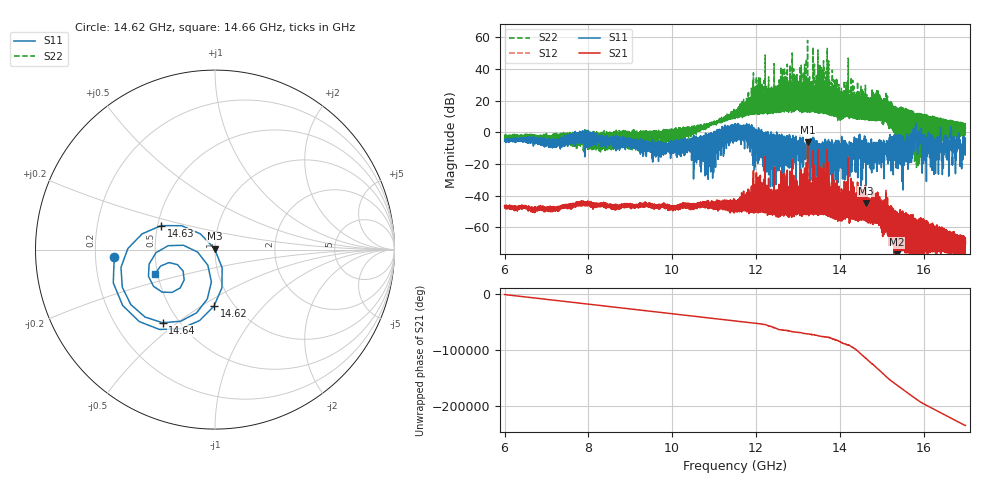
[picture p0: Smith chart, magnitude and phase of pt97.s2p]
#  HZ  S  RI  R  50.00
! Rohde & Schwarz Vector Network Analyzer
! Rohde-Schwarz,ZNA67-2Port,1332450062101215,3.01
! Created: UTC 10/19/2026, 11:38:50 AM
! freq[Hz]  re:S11  im:S11  re:S21  im:S21  re:S12  im:S12  re:S22  im:S22
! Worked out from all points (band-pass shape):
!   11001 points, 6 GHz to 17 GHz, reference 50 ohm
!   highest |S21| = -6.32 dB at 13.23 GHz (marker M1); lowest = -84.1 dB at 15.37 GHz (marker M2)
!   |S21| within 3 dB of the highest: 13.23292 GHz to 13.23308 GHz (164.9 kHz wide, 0.00125 % of centre)
!   lowest |S11| = -44.7 dB at 14.63 GHz (marker M3), VSWR 1.01, Z = 49.7 + j0.51 ohm
!   |S11| at or under -10 dB: 13.46861 GHz to 13.49467 GHz (26.06 MHz wide, 0.193 % of centre); 13.60943 GHz to 13.63377 GHz (24.34 MHz wide, 0.179 % of centre); 13.92231 GHz to 13.94845 GHz (26.13 MHz wide, 0.188 % of centre) (the widest 3 of 515)
!   |S22| runs from -22.3 to 58.0 dB; largest |S21 - S12| = 0.021
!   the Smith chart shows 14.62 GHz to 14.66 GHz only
!   S11 on the Smith chart (normalised r, x): 14.62 GHz: 0.28, -0.03; 14.62 GHz: 0.81, -0.57; 14.63 GHz: 0.52, +0.16; 14.64 GHz: 0.41, -0.44; 14.66 GHz: 0.48, -0.15
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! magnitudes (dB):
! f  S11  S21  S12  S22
! 6 GHz  -5.7  -47.0  -47.0  -5.0
! 7.834 GHz  -3.3  -45.4  -45.2  -4.3
! 9.667 GHz  -6.1  -47.5  -47.6  -0.9
! 10.87 GHz  -1.7  -47.2  -47.2  3.6
! 11.5 GHz  5.0  -47.5  -47.6  10.1
! 12.63 GHz  -9.4  -51.9  -51.7  13.8
! 13.23 GHz  -10.2  -6.3  -6.3  58.0
! 13.33 GHz  -12.4  -49.3  -48.9  16.7
! 14.62 GHz  -5.0  -53.6  -53.4  12.1
! 14.62 GHz  -10.0  -43.2  -43.2  20.6
! 14.63 GHz  -44.7  -56.3  -56.1  9.9
! 14.63 GHz  -9.7  -50.1  -49.9  11.0
! 14.64 GHz  -6.0  -49.6  -49.7  13.0
! 14.66 GHz  -8.9  -44.7  -44.8  18.9
! 15.17 GHz  -14.4  -61.9  -61.9  5.5
! 15.37 GHz  -19.7  -84.1  -83.9  -0.3
! 15.68 GHz  -2.3  -53.7  -53.6  13.0
! 15.8 GHz  -5.7  -79.9  -79.9  -18.0
! 16.04 GHz  -5.1  -59.5  -59.2  6.9
! 16.69 GHz  -16.5  -69.6  -69.9  1.1
! 16.91 GHz  -18.1  -68.3  -68.0  4.1
! 17 GHz  -3.7  -71.2  -71.4  2.1
